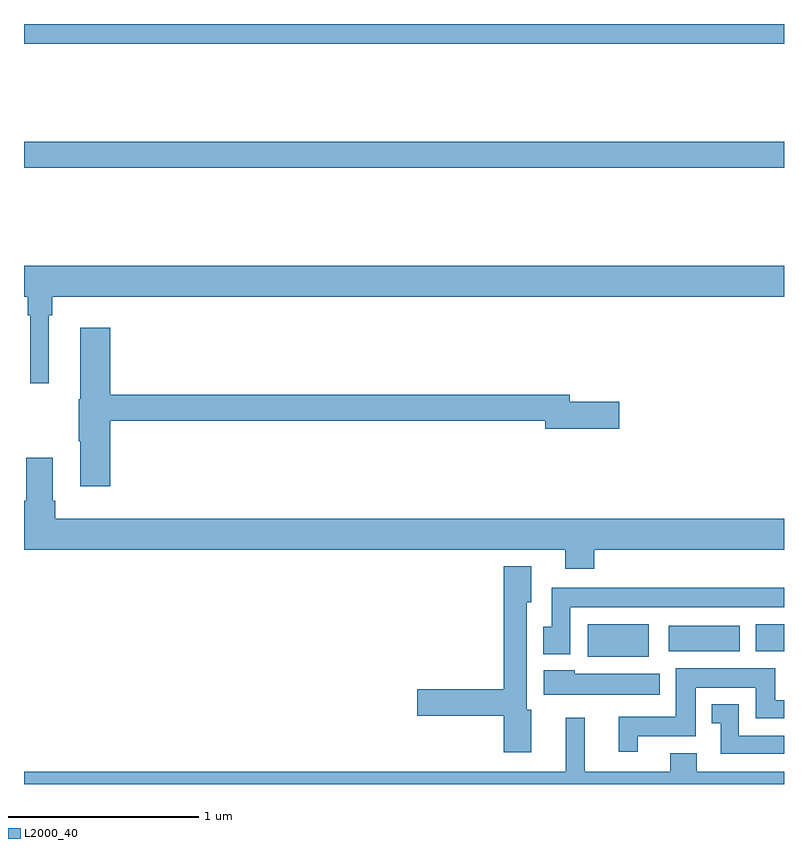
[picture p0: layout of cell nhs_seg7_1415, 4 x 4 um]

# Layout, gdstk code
import gdstk
lib = gdstk.Library(unit=1e-6, precision=1e-09)
def R(c, l, rs):  # rectangles x0, y0, x1, y1
    for r in rs: c.add(gdstk.rectangle(r[:2], r[2:], *l))
def P(c, l, *ps):  # polygons
    for p in ps: c.add(gdstk.Polygon(p, *l))
L2000_40 = (2000, 40)

nhs_seg7_1415 = lib.new_cell('nhs_seg7_1415')
R(nhs_seg7_1415, L2000_40, [(209.966,1050.671,210.289,1050.841), (210.393,1050.698,210.766,1050.832), (210.851,1050.698,211,1050.841), (207,1053.244,211,1053.38), (207,1053.896,211,1054)])
P(nhs_seg7_1415, L2000_40, [(207.13,1052.468),(207.149,1052.468),(207.149,1052.564),(211,1052.564),(211,1052.728),(207,1052.728),(207,1052.564),(207.02,1052.564),(207.02,1052.468),(207.033,1052.468),(207.033,1052.109),(207.13,1052.109)],
  [(207.455,1051.912),(209.744,1051.912),(209.744,1051.87),(210.133,1051.87),(210.133,1052.012),(209.872,1052.012),(209.872,1052.048),(207.455,1052.048),(207.455,1052.401),(207.296,1052.401),(207.296,1052.025),(207.289,1052.025),(207.289,1051.804),(207.296,1051.804),(207.296,1051.566),(207.455,1051.566)],
  [(210.002,1051.232),(211,1051.232),(211,1051.396),(207.164,1051.396),(207.164,1051.492),(207.151,1051.492),(207.151,1051.717),(207.011,1051.717),(207.011,1051.492),(207,1051.492),(207,1051.232),(209.849,1051.232),(209.849,1051.133),(210.002,1051.133)],
  [(209.671,1050.39),(209.647,1050.39),(209.647,1050.957),(209.671,1050.957),(209.671,1051.147),(209.525,1051.147),(209.525,1050.5),(209.07,1050.5),(209.07,1050.358),(209.525,1050.358),(209.525,1050.168),(209.671,1050.168)],
  [(209.874,1050.929),(211,1050.929),(211,1051.033),(209.777,1051.033),(209.777,1050.828),(209.732,1050.828),(209.732,1050.684),(209.874,1050.684)],
  [(210.229,1050.251),(210.535,1050.251),(210.535,1050.506),(210.851,1050.506),(210.851,1050.345),(211,1050.345),(211,1050.441),(210.955,1050.441),(210.955,1050.61),(210.431,1050.61),(210.431,1050.355),(210.131,1050.355),(210.131,1050.171),(210.229,1050.171)],
  [(210.346,1050.58),(209.898,1050.58),(209.898,1050.598),(209.736,1050.598),(209.736,1050.47),(210.346,1050.47)],
  [(211,1050.255),(210.762,1050.255),(210.762,1050.421),(210.62,1050.421),(210.62,1050.321),(210.666,1050.321),(210.666,1050.159),(211,1050.159)],
  [(211,1050.064),(210.541,1050.064),(210.541,1050.163),(210.401,1050.163),(210.401,1050.064),(209.951,1050.064),(209.951,1050.349),(209.852,1050.349),(209.852,1050.064),(207,1050.064),(207,1050),(211,1050)])

lib.write_gds('nhs_seg7_1415.gds')
